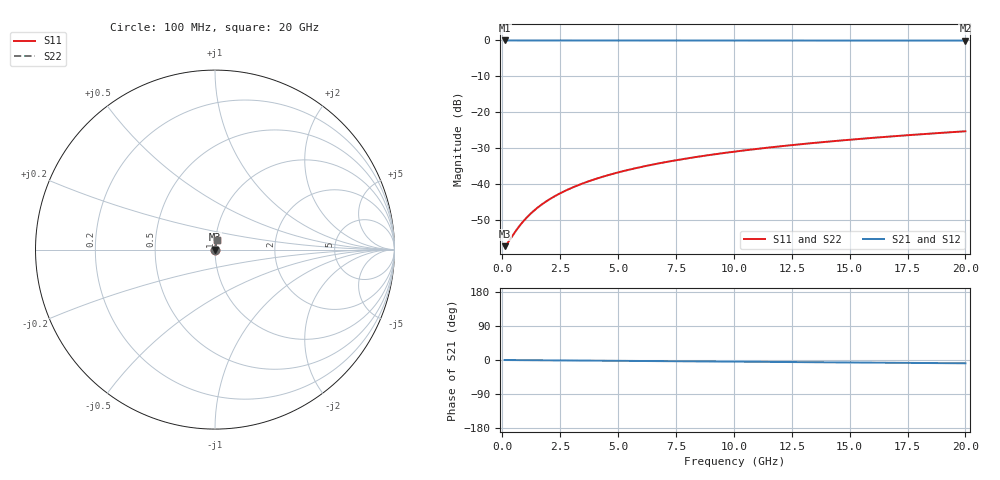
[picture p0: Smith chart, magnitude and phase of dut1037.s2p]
! Touchstone file exported from HFSS 2026.1.0
!  File:  C:/ffzhzh/LocalFiles/Ansys_Project_Files/temp_train_TSV_1037_1783189184_22436.aedt
!  Generated:  02:21:53 AM Jul  5, 2026
!  Design:  TSV
!  Project:  temp_train_TSV_1037_1783189184_22436
! Variables:
!  h_bsmrdl = 2um
!  h_ox = 20um
!  h_rdl = 5um
!  h_sub = 87.15um
!  h_tmrdl = 5um
!  h_tsv = 87.15um
!  h_via = 3um
!  l_bsmrdl = 300um
!  l_sub = 405.52um
!  l_tmrdl = 200um
!  m_sub = 200um
!  pitch = 19.85um
!  r_tsv = 2.76um
!  s_tmrdl = 10um
!  w_bsmrdl = 18um
!  w_sub = 500um
!  w_tmrdl = 12um
!  x_tsv_center1 = 206um
!  x_tsv_center2 = 524um
!  x_tsv_center3 = 736um
!  x_tsv_center4 = 1054um
!  x_tsv_center5 = 1266um
!  x_tsv_center6 = 1584um
# GHz S MA R 50.000000
! Terminal data exported
! Port[1] = TSV1_1_T1
! Port[2] = TSV1_1_T2
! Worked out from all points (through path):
!   200 points, 100 MHz to 20 GHz, reference 50 ohm
!   highest |S21| = -0.01 dB at 100 MHz (marker M1); lowest = 0.0 dB at 20 GHz (marker M2)
!   group delay of S21, straight-line fit = 1.2 ps
!   lowest |S11| = -57.3 dB at 100 MHz (marker M3), VSWR 1.00, Z = 50.1 + j0.0307 ohm
!   |S11| at or under -10 dB: start of sweep to end of sweep
!   |S22| runs from -57.3 to -25.3 dB; largest |S21 - S12| = 3.4e-15
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0.1  0.001361 13.0  0.9987 -0.0  0.9987 -0.0  0.001361 13.0
! Gamma 0 0 0 0
! Port Impedance 50 0 50 0
0.2  0.001468 24.5  0.9987 -0.1  0.9987 -0.1  0.001468 24.5
0.3  0.001625 33.9  0.9987 -0.1  0.9987 -0.1  0.001625 33.9
0.6  0.002259 52.1  0.9986 -0.3  0.9986 -0.3  0.002259 52.1
0.7  0.002499 55.9  0.9986 -0.3  0.9986 -0.3  0.002499 55.9
0.9  0.003003 61.7  0.9986 -0.4  0.9986 -0.4  0.003003 61.7
1.2  0.003797 67.4  0.9986 -0.5  0.9986 -0.5  0.003797 67.4
1.5  0.004617 71.1  0.9985 -0.7  0.9985 -0.7  0.004617 71.1
1.9  0.005731 74.2  0.9985 -0.8  0.9985 -0.8  0.005731 74.2
2.4  0.00714 76.6  0.9985 -1.1  0.9985 -1.1  0.00714 76.6
2.9  0.008557 78.1  0.9984 -1.3  0.9984 -1.3  0.008557 78.1
3.5  0.01026 79.2  0.9983 -1.6  0.9983 -1.6  0.01026 79.2
4.2  0.01224 80.0  0.9982 -1.9  0.9982 -1.9  0.01224 79.9
5  0.01449 80.4  0.998 -2.2  0.998 -2.2  0.01449 80.4
5.9  0.017 80.6  0.9978 -2.6  0.9978 -2.6  0.017 80.6
6.8  0.01949 80.6  0.9976 -3.0  0.9976 -3.0  0.01949 80.6
8.3  0.02359 80.4  0.9973 -3.7  0.9973 -3.7  0.02359 80.4
10.1  0.02843 80.0  0.9969 -4.4  0.9969 -4.4  0.02843 80.0
11.7  0.03268 79.6  0.9965 -5.1  0.9965 -5.1  0.03268 79.6
13.4  0.03716 79.1  0.9961 -5.9  0.9961 -5.9  0.03716 79.1
16.7  0.04574 78.1  0.9953 -7.3  0.9953 -7.3  0.04574 78.1
20  0.05423 77.0  0.9945 -8.7  0.9945 -8.7  0.05423 77.0
